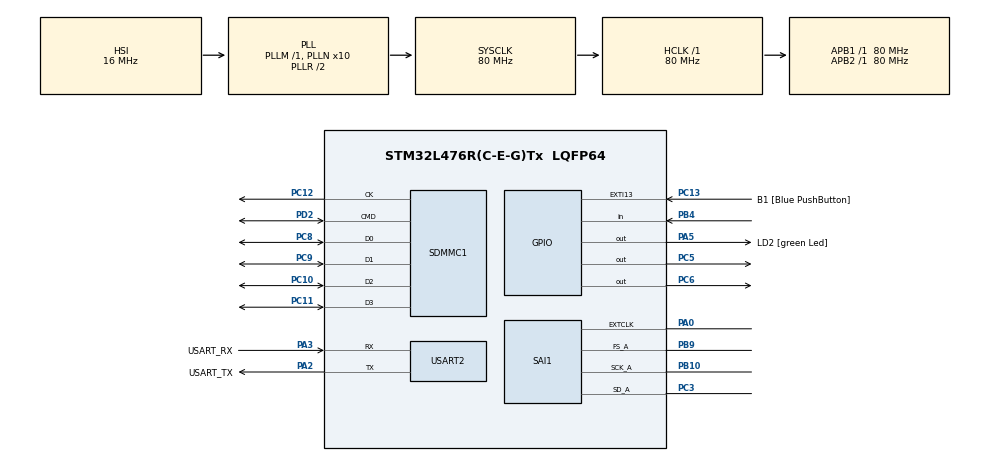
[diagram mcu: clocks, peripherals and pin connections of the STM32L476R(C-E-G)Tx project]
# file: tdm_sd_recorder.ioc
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Dma.Request0=SAI1_A
Dma.SAI1_A.0.Direction=DMA_PERIPH_TO_MEMORY
Dma.SAI1_A.0.Instance=DMA2_Channel1
Dma.SAI1_A.0.MemDataAlignment=DMA_MDATAALIGN_WORD
Dma.SAI1_A.0.MemInc=DMA_MINC_ENABLE
Dma.SAI1_A.0.Mode=DMA_CIRCULAR
Dma.SAI1_A.0.PeriphDataAlignment=DMA_PDATAALIGN_WORD
Dma.SAI1_A.0.PeriphInc=DMA_PINC_DISABLE
Dma.SAI1_A.0.Priority=DMA_PRIORITY_LOW
FATFS.BSP.number=1
FATFS.USE_DMA_CODE_SD=0
FATFS._MAX_SS=4096
FATFS._USE_LFN=0
FATFS0.BSP.STBoard=false
FATFS0.BSP.api=Unknown
FATFS0.BSP.instance=PB4 (NJTRST)
FATFS0.BSP.ip=GPIO
FATFS0.BSP.mode=Input
FATFS0.BSP.name=Detect_SDIO
FATFS0.BSP.solution=PB4 (NJTRST)
Mcu.Family=STM32L4
Mcu.Name=STM32L476R(C-E-G)Tx
Mcu.Package=LQFP64
NVIC.DMA2_Channel1_IRQn=true\:0\:0\:false\:false\:true\:false\:true\:true
NVIC.PriorityGroup=NVIC_PRIORITYGROUP_4
NVIC.SDMMC1_IRQn=true\:0\:0\:false\:false\:true\:true\:true\:true
NVIC.USART2_IRQn=true\:0\:0\:false\:false\:true\:true\:true\:true
PA0.Mode=Audio_ClockInSAI1
PA0.Signal=SAI1_EXTCLK
PA13\ (JTMS-SWDIO).GPIO_Label=TMS
PA13\ (JTMS-SWDIO).Mode=Serial_Wire
PA13\ (JTMS-SWDIO).Signal=SYS_JTMS-SWDIO
PA14\ (JTCK-SWCLK).GPIO_Label=TCK
PA14\ (JTCK-SWCLK).Mode=Serial_Wire
PA14\ (JTCK-SWCLK).Signal=SYS_JTCK-SWCLK
PA2.GPIO_Label=USART_TX
PA2.GPIO_Mode=GPIO_MODE_AF_PP
PA2.GPIO_PuPd=GPIO_NOPULL
PA2.GPIO_Speed=GPIO_SPEED_FREQ_VERY_HIGH
PA2.Mode=Asynchronous
PA2.Signal=USART2_TX
PA3.GPIO_Label=USART_RX
PA3.GPIO_Mode=GPIO_MODE_AF_PP
PA3.GPIO_PuPd=GPIO_NOPULL
PA3.GPIO_Speed=GPIO_SPEED_FREQ_VERY_HIGH
PA3.Mode=Asynchronous
PA3.Signal=USART2_RX
PA5.GPIO_Label=LD2 [green Led]
PA5.GPIO_ModeDefaultOutputPP=GPIO_MODE_OUTPUT_PP
PA5.GPIO_PuPd=GPIO_NOPULL
PA5.GPIO_Speed=GPIO_SPEED_FREQ_LOW
PA5.Signal=GPIO_Output
PB10.Mode=SAI_A_Master
PB10.Signal=SAI1_SCK_A
PB3\ (JTDO-TRACESWO).GPIO_Label=SWO
PB3\ (JTDO-TRACESWO).Signal=SYS_JTDO-SWO
PB4\ (NJTRST).GPIO_PuPd=GPIO_PULLUP
PB4\ (NJTRST).Signal=GPIO_Input
PB9.Mode=SAI_A_Master
PB9.Signal=SAI1_FS_A
PC10.Mode=SD_4_bits_Wide_bus
PC10.Signal=SDMMC1_D2
PC11.Mode=SD_4_bits_Wide_bus
PC11.Signal=SDMMC1_D3
PC12.Mode=SD_4_bits_Wide_bus
PC12.Signal=SDMMC1_CK
PC13.GPIO_Label=B1 [Blue PushButton]
PC13.GPIO_ModeDefaultEXTI=GPIO_MODE_IT_FALLING
PC13.GPIO_PuPd=GPIO_NOPULL
PC13.Signal=GPXTI13
PC14-OSC32_IN\ (PC14).Mode=LSE-External-Oscillator
PC14-OSC32_IN\ (PC14).Signal=RCC_OSC32_IN
PC15-OSC32_OUT\ (PC15).Mode=LSE-External-Oscillator
PC15-OSC32_OUT\ (PC15).Signal=RCC_OSC32_OUT
PC3.Mode=SAI_A_Master
PC3.Signal=SAI1_SD_A
PC5.Signal=GPIO_Output
PC6.Signal=GPIO_Output
PC8.Mode=SD_4_bits_Wide_bus
PC8.Signal=SDMMC1_D0
PC9.Mode=SD_4_bits_Wide_bus
PC9.Signal=SDMMC1_D1
PD2.Mode=SD_4_bits_Wide_bus
PD2.Signal=SDMMC1_CMD
PH0-OSC_IN\ (PH0).Signal=RCC_OSC_IN
PH1-OSC_OUT\ (PH1).Signal=RCC_OSC_OUT
ProjectManager.HeapSize=0x2000
ProjectManager.StackSize=0x6000
ProjectManager.TargetToolchain=STM32CubeIDE
RCC.ADCFreq_Value=104000000
RCC.AHBFreq_Value=80000000
RCC.APB1Freq_Value=80000000
RCC.APB1TimFreq_Value=80000000
RCC.APB2Freq_Value=80000000
RCC.APB2TimFreq_Value=80000000
RCC.CK48CLockSelection=RCC_USBCLKSOURCE_PLL
RCC.CortexFreq_Value=80000000
RCC.EXTERNALSAI1_CLOCK_VALUE=24576000
RCC.EXTERNALSAI2_CLOCK_VALUE=24576000
RCC.HCLKFreq_Value=80000000
RCC.HSE_VALUE=24576000
RCC.HSI_VALUE=16000000
RCC.MSI_VALUE=4000000
RCC.PLLN=10
RCC.PLLQ=RCC_PLLQ_DIV4
RCC.PLLSAI1N=13
RCC.PLLSAI1P=RCC_PLLP_DIV17
RCC.PLLSAI2N=9
RCC.PLLSourceVirtual=RCC_PLLSOURCE_HSI
RCC.PREFETCH_ENABLE=1
RCC.SYSCLKFreq_VALUE=80000000
RCC.SYSCLKSource=RCC_SYSCLKSOURCE_PLLCLK
RCC.USBFreq_Value=40000000
RCC.VCOOutputFreq_Value=160000000
SAI1.AudioFrequency-SAI_A_Master=SAI_AUDIO_FREQUENCY_48K
SAI1.AudioMode-SAI_A_Master=SAI_MODEMASTER_RX
SAI1.ClockStrobing-SAI_A_Master=SAI_CLOCKSTROBING_RISINGEDGE
SAI1.DataSize-SAI_A_Master=SAI_DATASIZE_32
SAI1.ErrorAudioFreq-SAI_A_Master=-0.42 %
SAI1.FSOffset-SAI_A_Master=SAI_FS_BEFOREFIRSTBIT
SAI1.FSPolarity-SAI_A_Master=SAI_FS_ACTIVE_HIGH
SAI1.FirstBitOffset-SAI_A_Master=0
SAI1.FrameLength-SAI_A_Master=128
SAI1.Instance-SAI_A_Master=SAI$Index_Block_A
SAI1.MClockEnable-SAI_A_Master=SAI_MASTERCLOCK_DISABLE
SAI1.RealAudioFreq-SAI_A_Master=47.794 KHz
SAI1.SlotActive-SAI_A_Master=0x0000FFFF
SAI1.SlotNumber-SAI_A_Master=4
SAI1.SlotSize-SAI_A_Master=SAI_SLOTSIZE_32B
SAI1.VirtualMode-SAI_A_Master=VM_MASTER
SAI1.VirtualSlotActive-SAI_A_Master=SAI_SLOTACTIVE_ALL
SDMMC1.ClockBypass=SDMMC_CLOCK_BYPASS_DISABLE
SDMMC1.ClockDiv=12
SDMMC1.HardwareFlowControl=SDMMC_HARDWARE_FLOW_CONTROL_DISABLE
USART2.VirtualMode-Asynchronous=VM_ASYNC
VP_FATFS_VS_SDIO.Mode=SDIO
board=NUCLEO-L476RG

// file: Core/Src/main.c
/* USER CODE BEGIN Header */
/**
  ******************************************************************************
  * @file           : main.c
  * @brief          : Main program body
  ******************************************************************************
  * @attention
  *
  * Copyright (c) 2025 STMicroelectronics.
  * All rights reserved.
  *
  * This software is licensed under terms that can be found in the LICENSE file
  * in the root directory of this software component.
  * If no LICENSE file comes with this software, it is provided AS-IS.
  *
  ******************************************************************************
  */
/* USER CODE END Header */
#include "main.h"
#include "fatfs.h"

/* USER CODE BEGIN Includes */
#include "stdio.h"
#include "audio_sd.h"
#include <string.h>

/* USER CODE END Includes */

/* USER CODE BEGIN PD */
#define WAV_WRITE_SAMPLE_COUNT 12288
#define CMD_BUFFER_SIZE 64

/* USER CODE END PD */

SAI_HandleTypeDef hsai_BlockA1;
DMA_HandleTypeDef hdma_sai1_a;

SD_HandleTypeDef hsd1;

UART_HandleTypeDef huart2;

/* USER CODE BEGIN PV */
int32_t data_tdm[WAV_WRITE_SAMPLE_COUNT];
volatile int32_t sample_tdm;
volatile uint8_t button_flag, start_stop_recording;
volatile uint8_t  half_tdm, full_tdm;

char uart_rx_buffer[CMD_BUFFER_SIZE];
char uart_tx_buffer[CMD_BUFFER_SIZE];
volatile uint8_t uart_rx_index = 0;
volatile int command_received = 0;
volatile int recording_state = 0; // 0 for stopped, 1 for recording
int sd_init_done = 0;

/* USER CODE END PV */

void SystemClock_Config(void);
static void MX_GPIO_Init(void);
static void MX_DMA_Init(void);
static void MX_USART2_UART_Init(void);
static void MX_SDMMC1_SD_Init(void);
static void MX_SAI1_Init(void);

/* USER CODE BEGIN 0 */
void HAL_UART_RxCpltCallback(UART_HandleTypeDef *huart) {
    if (huart->Instance == USART2) {

        if (uart_rx_buffer[uart_rx_index] == '\n') {
            uart_rx_buffer[uart_rx_index] = '\0';
            command_received = 1;
            uart_rx_index = 0;
        } else if (uart_rx_index < CMD_BUFFER_SIZE - 1) {
            uart_rx_index = uart_rx_index + 1;

        } else {
            uart_rx_index = 0; // Reset index on overflow
        }
        HAL_UART_Receive_IT(&huart2, (uint8_t*)&uart_rx_buffer[uart_rx_index], 1);
    }
}

void process_command(char *command) {
    if (command[0] == 's' && command[1] == ' ') {
        char filename[CMD_BUFFER_SIZE];
        sscanf(command, "s %s", filename);
        StartRecording(filename);
        recording_state = 1;
    } else if (strcmp(command, "e") == 0) {
        recording_state = 0;
        StopRecording();
    } else if (strcmp(command, "c") == 0) {
        SendCurrentStatus();

    } else if (strcmp(command, "u") == 0){
    	sd_card_deinit();
    } else if (strcmp(command, "m") == 0){
    	if (!sd_init_done){
	    MX_SDMMC1_SD_Init();
	    MX_FATFS_Init();
	    sd_init_done = 1;
    	}
    	sd_card_init();
    }

    else {
        IndicateInvalidCommand();
    }
}

void UART_SendString(UART_HandleTypeDef *huart, char *str) {
    HAL_UART_Transmit(huart, (uint8_t*)str, strlen(str), HAL_MAX_DELAY);
}
/* USER CODE END 0 */

int main(void)
{

  /* USER CODE BEGIN 1 */
  setbuf(stdout, NULL);

  /* USER CODE END 1 */

  /* MCU Configuration--------------------------------------------------------*/

  /* Reset of all peripherals, Initializes the Flash interface and the Systick. */
  HAL_Init();

  /* Configure the system clock */
  SystemClock_Config();

  /* Initialize all configured peripherals */
  MX_GPIO_Init();
  MX_DMA_Init();
  MX_USART2_UART_Init();
  MX_SAI1_Init();
  /* USER CODE BEGIN 2 */
 // sd_card_init();

  /* USER CODE END 2 */

  /* Infinite loop */
  /* USER CODE BEGIN WHILE */
  uart_rx_index = 0;

  HAL_UART_Receive_IT(&huart2, (uint8_t*)&uart_rx_buffer[uart_rx_index], 1);
  //HAL_SAI_Receive_DMA(&hsai_BlockA2, (uint8_t *)data_tdm, sizeof(data_tdm));
  //start_recording(SAI_AUDIO_FREQUENCY_48K, "hoge.wav", (uint8_t)hsai_BlockA2.SlotInit.SlotNumber);

  while (1)
  {
    /* USER CODE END WHILE */

    /* USER CODE BEGIN 3 */
      if (command_received) {
          process_command(uart_rx_buffer);
          command_received = 0;
      }

	  if(recording_state && half_tdm)
	  {

		  HAL_GPIO_WritePin(GPIOC, GPIO_PIN_5, GPIO_PIN_SET);
		  write2wave_file(((uint8_t*)data_tdm),	 sizeof(data_tdm)/2); // half count * 4 byte per sample
		  HAL_GPIO_WritePin(GPIOC, GPIO_PIN_5, GPIO_PIN_RESET);

		  half_tdm = 0;
	  }
	  if(recording_state && full_tdm)
	  {
		//  HAL_GPIO_WritePin(GPIOC, GPIO_PIN_5, GPIO_PIN_SET);
		  write2wave_file(((uint8_t*)data_tdm) + sizeof(data_tdm)/2, sizeof(data_tdm)/2);
		 // HAL_GPIO_WritePin(GPIOC, GPIO_PIN_5, GPIO_PIN_RESET);

		  full_tdm = 0;
	  }
  }
  /* USER CODE END 3 */
}

void SystemClock_Config(void)
{
  RCC_OscInitTypeDef RCC_OscInitStruct = {0};
  RCC_ClkInitTypeDef RCC_ClkInitStruct = {0};

  /** Configure the main internal regulator output voltage
  */
  if (HAL_PWREx_ControlVoltageScaling(PWR_REGULATOR_VOLTAGE_SCALE1) != HAL_OK)
  {
    Error_Handler();
  }

  /** Initializes the RCC Oscillators according to the specified parameters
  * in the RCC_OscInitTypeDef structure.
  */
  RCC_OscInitStruct.OscillatorType = RCC_OSCILLATORTYPE_HSI;
  RCC_OscInitStruct.HSIState = RCC_HSI_ON;
  RCC_OscInitStruct.HSICalibrationValue = RCC_HSICALIBRATION_DEFAULT;
  RCC_OscInitStruct.PLL.PLLState = RCC_PLL_ON;
  RCC_OscInitStruct.PLL.PLLSource = RCC_PLLSOURCE_HSI;
  RCC_OscInitStruct.PLL.PLLM = 1;
  RCC_OscInitStruct.PLL.PLLN = 10;
  RCC_OscInitStruct.PLL.PLLP = RCC_PLLP_DIV7;
  RCC_OscInitStruct.PLL.PLLQ = RCC_PLLQ_DIV4;
  RCC_OscInitStruct.PLL.PLLR = RCC_PLLR_DIV2;
  if (HAL_RCC_OscConfig(&RCC_OscInitStruct) != HAL_OK)
  {
    Error_Handler();
  }

  /** Initializes the CPU, AHB and APB buses clocks
  */
  RCC_ClkInitStruct.ClockType = RCC_CLOCKTYPE_HCLK|RCC_CLOCKTYPE_SYSCLK
                              |RCC_CLOCKTYPE_PCLK1|RCC_CLOCKTYPE_PCLK2;
  RCC_ClkInitStruct.SYSCLKSource = RCC_SYSCLKSOURCE_PLLCLK;
  RCC_ClkInitStruct.AHBCLKDivider = RCC_SYSCLK_DIV1;
  RCC_ClkInitStruct.APB1CLKDivider = RCC_HCLK_DIV1;
  RCC_ClkInitStruct.APB2CLKDivider = RCC_HCLK_DIV1;

  if (HAL_RCC_ClockConfig(&RCC_ClkInitStruct, FLASH_LATENCY_4) != HAL_OK)
  {
    Error_Handler();
  }
}

static void MX_SAI1_Init(void)
{

  hsai_BlockA1.Instance = SAI1_Block_A;
  hsai_BlockA1.Init.Protocol = SAI_FREE_PROTOCOL;
  hsai_BlockA1.Init.AudioMode = SAI_MODEMASTER_RX;
  hsai_BlockA1.Init.DataSize = SAI_DATASIZE_32;
  hsai_BlockA1.Init.FirstBit = SAI_FIRSTBIT_MSB;
  hsai_BlockA1.Init.ClockStrobing = SAI_CLOCKSTROBING_RISINGEDGE;
  hsai_BlockA1.Init.Synchro = SAI_ASYNCHRONOUS;
  hsai_BlockA1.Init.OutputDrive = SAI_OUTPUTDRIVE_DISABLE;
  hsai_BlockA1.Init.NoDivider = SAI_MASTERDIVIDER_ENABLE;
  hsai_BlockA1.Init.FIFOThreshold = SAI_FIFOTHRESHOLD_EMPTY;
  hsai_BlockA1.Init.AudioFrequency = SAI_AUDIO_FREQUENCY_48K;
  hsai_BlockA1.Init.SynchroExt = SAI_SYNCEXT_DISABLE;
  hsai_BlockA1.Init.MonoStereoMode = SAI_STEREOMODE;
  hsai_BlockA1.Init.CompandingMode = SAI_NOCOMPANDING;
  hsai_BlockA1.FrameInit.FrameLength = 128;
  hsai_BlockA1.FrameInit.ActiveFrameLength = 1;
  hsai_BlockA1.FrameInit.FSDefinition = SAI_FS_STARTFRAME;
  hsai_BlockA1.FrameInit.FSPolarity = SAI_FS_ACTIVE_HIGH;
  hsai_BlockA1.FrameInit.FSOffset = SAI_FS_BEFOREFIRSTBIT;
  hsai_BlockA1.SlotInit.FirstBitOffset = 0;
  hsai_BlockA1.SlotInit.SlotSize = SAI_SLOTSIZE_32B;
  hsai_BlockA1.SlotInit.SlotNumber = 4;
  hsai_BlockA1.SlotInit.SlotActive = 0x0000FFFF;
  if (HAL_SAI_Init(&hsai_BlockA1) != HAL_OK)
  {
    Error_Handler();
  }

}

static void MX_SDMMC1_SD_Init(void)
{

  hsd1.Instance = SDMMC1;
  hsd1.Init.ClockEdge = SDMMC_CLOCK_EDGE_RISING;
  hsd1.Init.ClockBypass = SDMMC_CLOCK_BYPASS_DISABLE;
  hsd1.Init.ClockPowerSave = SDMMC_CLOCK_POWER_SAVE_DISABLE;
  hsd1.Init.BusWide = SDMMC_BUS_WIDE_4B;
  hsd1.Init.HardwareFlowControl = SDMMC_HARDWARE_FLOW_CONTROL_DISABLE;
  hsd1.Init.ClockDiv = 12;
  /* USER CODE BEGIN SDMMC1_Init 2 */
  //hsd1.Init.BusWide = SDMMC_BUS_WIDE_1B;

  /* USER CODE END SDMMC1_Init 2 */

}

static void MX_USART2_UART_Init(void)
{

  huart2.Instance = USART2;
  huart2.Init.BaudRate = 115200;
  huart2.Init.WordLength = UART_WORDLENGTH_8B;
  huart2.Init.StopBits = UART_STOPBITS_1;
  huart2.Init.Parity = UART_PARITY_NONE;
  huart2.Init.Mode = UART_MODE_TX_RX;
  huart2.Init.HwFlowCtl = UART_HWCONTROL_NONE;
  huart2.Init.OverSampling = UART_OVERSAMPLING_16;
  huart2.Init.OneBitSampling = UART_ONE_BIT_SAMPLE_DISABLE;
  huart2.AdvancedInit.AdvFeatureInit = UART_ADVFEATURE_NO_INIT;
  if (HAL_UART_Init(&huart2) != HAL_OK)
  {
    Error_Handler();
  }

}

static void MX_DMA_Init(void)
{

  /* DMA controller clock enable */
  __HAL_RCC_DMA2_CLK_ENABLE();

  /* DMA interrupt init */
  /* DMA2_Channel1_IRQn interrupt configuration */
  HAL_NVIC_SetPriority(DMA2_Channel1_IRQn, 0, 0);
  HAL_NVIC_EnableIRQ(DMA2_Channel1_IRQn);

}

static void MX_GPIO_Init(void)
{
  GPIO_InitTypeDef GPIO_InitStruct = {0};

  /* GPIO Ports Clock Enable */
  __HAL_RCC_GPIOC_CLK_ENABLE();
  __HAL_RCC_GPIOH_CLK_ENABLE();
  __HAL_RCC_GPIOA_CLK_ENABLE();
  __HAL_RCC_GPIOB_CLK_ENABLE();
  __HAL_RCC_GPIOD_CLK_ENABLE();

  /*Configure GPIO pin Output Level */
  HAL_GPIO_WritePin(LD2_GPIO_Port, LD2_Pin, GPIO_PIN_RESET);

  /*Configure GPIO pin Output Level */
  HAL_GPIO_WritePin(GPIOC, GPIO_PIN_5|GPIO_PIN_6, GPIO_PIN_RESET);

  /*Configure GPIO pin : B1_Pin */
  GPIO_InitStruct.Pin = B1_Pin;
  GPIO_InitStruct.Mode = GPIO_MODE_IT_FALLING;
  GPIO_InitStruct.Pull = GPIO_NOPULL;
  HAL_GPIO_Init(B1_GPIO_Port, &GPIO_InitStruct);

  /*Configure GPIO pin : PA0 */
  GPIO_InitStruct.Pin = GPIO_PIN_0;
  GPIO_InitStruct.Mode = GPIO_MODE_AF_PP;
  GPIO_InitStruct.Pull = GPIO_NOPULL;
  GPIO_InitStruct.Speed = GPIO_SPEED_FREQ_LOW;
  GPIO_InitStruct.Alternate = GPIO_AF13_SAI1;
  HAL_GPIO_Init(GPIOA, &GPIO_InitStruct);

  /*Configure GPIO pin : LD2_Pin */
  GPIO_InitStruct.Pin = LD2_Pin;
  GPIO_InitStruct.Mode = GPIO_MODE_OUTPUT_PP;
  GPIO_InitStruct.Pull = GPIO_NOPULL;
  GPIO_InitStruct.Speed = GPIO_SPEED_FREQ_LOW;
  HAL_GPIO_Init(LD2_GPIO_Port, &GPIO_InitStruct);

  /*Configure GPIO pins : PC5 PC6 */
  GPIO_InitStruct.Pin = GPIO_PIN_5|GPIO_PIN_6;
  GPIO_InitStruct.Mode = GPIO_MODE_OUTPUT_PP;
  GPIO_InitStruct.Pull = GPIO_NOPULL;
  GPIO_InitStruct.Speed = GPIO_SPEED_FREQ_LOW;
  HAL_GPIO_Init(GPIOC, &GPIO_InitStruct);

  /*Configure GPIO pin : PB4 */
  GPIO_InitStruct.Pin = GPIO_PIN_4;
  GPIO_InitStruct.Mode = GPIO_MODE_INPUT;
  GPIO_InitStruct.Pull = GPIO_PULLUP;
  HAL_GPIO_Init(GPIOB, &GPIO_InitStruct);

}

/* USER CODE BEGIN 4 */
void HAL_SAI_RxCpltCallback(SAI_HandleTypeDef *hsai)
{
	HAL_GPIO_WritePin(GPIOC, GPIO_PIN_6, GPIO_PIN_SET);
	full_tdm = 1;
	sample_tdm = data_tdm[0];
}
void HAL_SAI_RxHalfCpltCallback(SAI_HandleTypeDef *hsai)
{
	//sample_i2s = data_i2s[0];
	HAL_GPIO_WritePin(GPIOC, GPIO_PIN_6, GPIO_PIN_RESET);
	half_tdm= 1;
	sample_tdm = data_tdm[WAV_WRITE_SAMPLE_COUNT/2];
}

void StartRecording(char *filename) {
	if (!is_mounted()){
	    snprintf(uart_tx_buffer, sizeof(uart_tx_buffer), "Please mount before recording. \r\n");
		return;
	}
    snprintf(uart_tx_buffer, sizeof(uart_tx_buffer), "Starting recording to file: %s\r\n", filename);
    UART_SendString(&huart2, uart_tx_buffer);
    // Implement file opening/creation here
    start_recording(SAI_AUDIO_FREQUENCY_48K, filename, (uint8_t)hsai_BlockA1.SlotInit.SlotNumber);
    HAL_SAI_Receive_DMA(&hsai_BlockA1, (uint8_t *)data_tdm, WAV_WRITE_SAMPLE_COUNT); // THIS SHOULD NOT BE NUMBER OF BYTES!!!

}

void StopRecording() {
	HAL_SAI_DMAStop(&hsai_BlockA1);
    UART_SendString(&huart2, "Stopping recording\r\n");
    // Implement file closing and clean-up here
    stop_recording();
}

void SendCurrentStatus() {
    if (recording_state == 1) {
        UART_SendString(&huart2, "Recording in progress\r\n");
    } else {
        UART_SendString(&huart2, "Recording stopped\r\n");
    }
}

void IndicateInvalidCommand() {
    UART_SendString(&huart2, "Invalid command received\r\n");
}
int _write(int file, char *ptr, int len)
{
  HAL_UART_Transmit(&huart2,(uint8_t *)ptr,len, HAL_MAX_DELAY);
  return len;
}

/* USER CODE END 4 */

void Error_Handler(void)
{
  __disable_irq();
  while (1)
  {
  }
}
